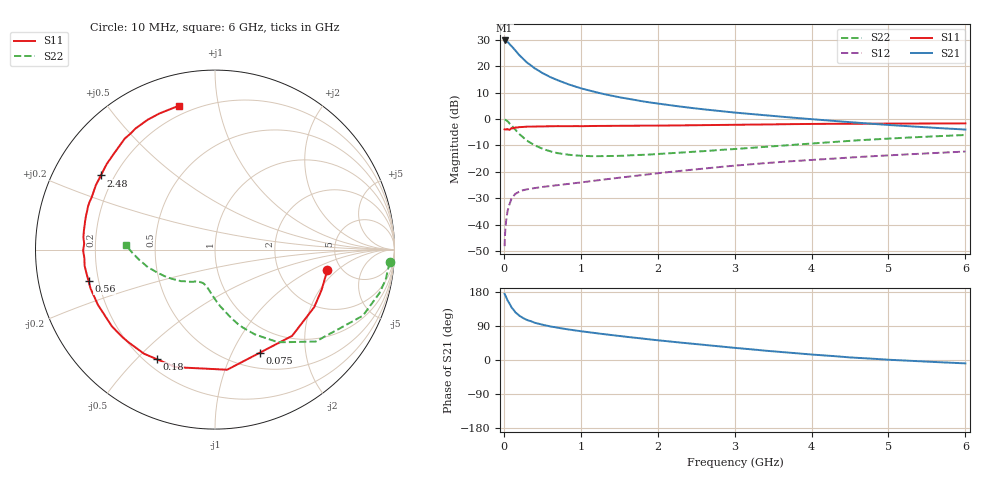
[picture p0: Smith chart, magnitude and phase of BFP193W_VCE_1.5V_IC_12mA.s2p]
! Infineon Technologies  Discrete & RF Semiconductors
! BFP193W
! VCE = 1.5 V,  IC =  12 mA
! Common Emitter S-Parameters:  Jan 2016
# GHz  S  MA  R  50
!  f  S11  S21  S12  S22
! GHz  MAG  ANG  MAG  ANG  MAG  ANG  MAG  ANG
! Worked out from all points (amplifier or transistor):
!   210 points, 10 MHz to 6 GHz, reference 50 ohm
!   highest |S21| = 29.7 dB at 10 MHz (marker M1)
!   |S21| within 3 dB of that: start of sweep to 125.8 MHz
!   unconditionally stable (mu >= 1): 1.158 GHz to 4.339 GHz
!   at 185 MHz: K = 0.25, MSG = 26.3 dB, |S12| = -27.8 dB
!   at 1.52 GHz: K = 1.10, MAG = 13.2 dB, |S12| = -22.2 dB
!   at 6 GHz: K = 0.94, MSG = 4.2 dB, |S12| = -12.3 dB
!   S11 on the Smith chart (normalised r, x): 10 MHz: 3.92, -1.47; 75 MHz: 0.68, -1.29; 180 MHz: 0.25, -0.57; 560 MHz: 0.16, -0.12; 2.48 GHz: 0.15, +0.29; 6 GHz: 0.15, +0.77
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0.01  0.6363 -10.1  30.71 174.4  0.0039 85.7  0.9757 -4.2
0.02  0.635 -20.5  30.7 170.3  0.0083 80.0  0.9654 -10.1
0.03  0.6391 -30.1  30.19 165.7  0.0118 78.7  0.9473 -14.9
0.05  0.6447 -48.2  28.79 156.7  0.0184 69.5  0.9025 -24.1
0.075  0.6265 -66.6  26.14 148.5  0.0245 60.3  0.8206 -32.5
0.1  0.6727 -84.2  24.14 138.8  0.031 54.9  0.7597 -42.4
0.15  0.6909 -108.5  19.77 125.7  0.0383 44.9  0.6251 -55.7
0.18  0.6913 -118.1  17.63 120.9  0.0404 41.5  0.5611 -60.8
0.2  0.7021 -124.3  16.28 117.0  0.0419 39.5  0.5214 -64.9
0.24  0.7066 -133.2  14.25 112.1  0.0443 36.5  0.4623 -70.2
0.3  0.7161 -143.4  11.76 105.7  0.0465 33.7  0.3891 -76.9
0.4  0.7212 -154.7  9.134 98.4  0.0492 32.2  0.3167 -84.8
0.56  0.7262 -166.0  6.721 90.6  0.0528 32.6  0.2556 -93.2
0.8  0.7296 -176.5  4.746 81.8  0.0579 35.7  0.2138 -101.8
1.02  0.7308 176.9  3.749 75.5  0.0633 38.6  0.2004 -107.9
1.4  0.741 167.6  2.762 65.7  0.0742 42.6  0.1994 -115.2
2.02  0.7492 155.1  1.941 51.7  0.0946 46.6  0.2185 -124.7
2.48  0.7581 147.0  1.593 42.2  0.1109 47.3  0.2401 -132.1
3.1  0.776 136.8  1.284 30.3  0.1345 46.3  0.2763 -142.5
4.1  0.8078 122.2  0.965 13.1  0.172 42.0  0.3511 -159.3
5.1  0.8192 111.4  0.754 -0.3  0.2084 36.7  0.4334 -173.6
6  0.827 103.9  0.631 -8.9  0.2419 31.9  0.4974 176.9
